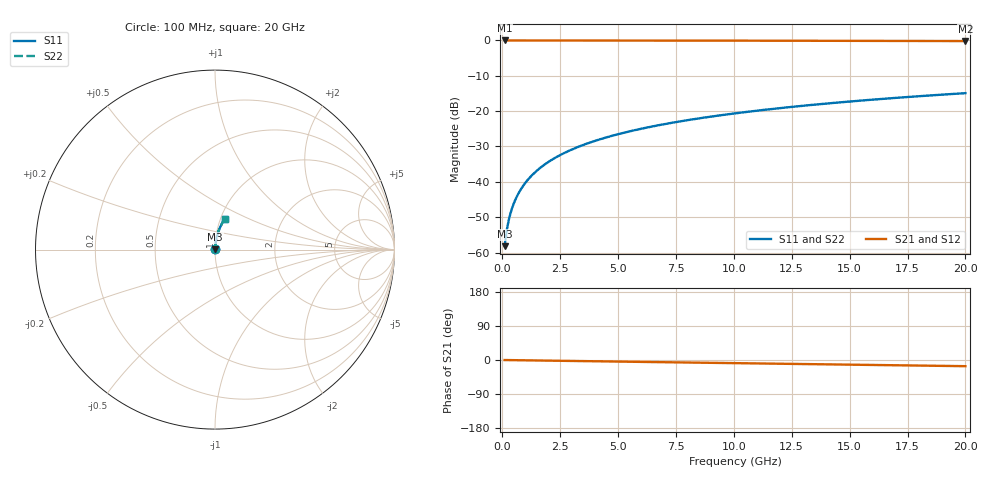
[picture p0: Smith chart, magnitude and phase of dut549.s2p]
! Touchstone file exported from HFSS 2026.1.0
!  File:  C:/ffzhzh/LocalFiles/Ansys_Project_Files/temp_train_TMRDL_549_1783007631_4048.aedt
!  Generated:  11:55:04 PM Jul  2, 2026
!  Design:  TMRDL
!  Project:  temp_train_TMRDL_549_1783007631_4048
! Variables:
!  h_bsmrdl = 2um
!  h_ox = 20um
!  h_rdl = 5um
!  h_sub = 80um
!  h_tmrdl = 5.52um
!  h_tsv = 80um
!  h_via = 3um
!  l_bsmrdl = 300um
!  l_sub = 585.18um
!  l_tmrdl = 185.18um
!  m_sub = 200um
!  pitch = 57.11um
!  r_tsv = 6um
!  s_tmrdl = 10um
!  w_bsmrdl = 18um
!  w_sub = 500um
!  w_tmrdl = 21.32um
!  x_tsv_center1 = 195.84um
!  x_tsv_center2 = 513.84um
!  x_tsv_center3 = 720.34um
!  x_tsv_center4 = 1038.34um
!  x_tsv_center5 = 1244.84um
!  x_tsv_center6 = 1562.84um
# GHz S MA R 50.000000
! Terminal data exported
! Port[1] = TM_RDL1_1_T1
! Port[2] = TM_RDL1_1_T2
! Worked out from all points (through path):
!   200 points, 100 MHz to 20 GHz, reference 50 ohm
!   highest |S21| = -0.01 dB at 100 MHz (marker M1); lowest = -0.2 dB at 20 GHz (marker M2)
!   group delay of S21, straight-line fit = 2.26 ps
!   lowest |S11| = -58.2 dB at 100 MHz (marker M3), VSWR 1.00, Z = 50.1 + j0.102 ohm
!   |S11| at or under -10 dB: start of sweep to end of sweep
!   |S22| runs from -58.2 to -14.9 dB; largest |S21 - S12| = 2.1e-15
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0.1  0.001229 55.6  0.9993 -0.1  0.9993 -0.1  0.001229 55.6
! Gamma 0 0 0 0
! Port Impedance 50 0 50 0
0.2  0.00214 69.9  0.9993 -0.2  0.9993 -0.2  0.00214 69.9
0.3  0.003087 75.3  0.9992 -0.3  0.9992 -0.3  0.003087 75.3
0.4  0.004035 78.1  0.9992 -0.3  0.9992 -0.3  0.004035 78.1
0.5  0.00498 79.9  0.9991 -0.4  0.9991 -0.4  0.00498 79.9
0.7  0.00687 82.0  0.9991 -0.6  0.9991 -0.6  0.00687 82.0
0.8  0.007815 82.7  0.999 -0.7  0.999 -0.7  0.007815 82.7
1  0.009709 83.6  0.999 -0.9  0.999 -0.9  0.009709 83.6
1.2  0.01161 84.2  0.9989 -1.0  0.9989 -1.0  0.01161 84.2
1.4  0.0135 84.5  0.9989 -1.2  0.9989 -1.2  0.0135 84.5
1.7  0.01635 84.8  0.9988 -1.4  0.9988 -1.4  0.01635 84.8
2  0.01919 84.9  0.9987 -1.7  0.9987 -1.7  0.01919 84.9
2.7  0.02578 84.9  0.9984 -2.3  0.9984 -2.3  0.02578 84.9
3.5  0.03327 84.5  0.9979 -2.9  0.9979 -2.9  0.03327 84.5
4.2  0.03977 84.1  0.9975 -3.5  0.9975 -3.5  0.03977 84.1
5  0.04716 83.6  0.997 -4.2  0.997 -4.2  0.04716 83.6
6.8  0.06362 82.3  0.9957 -5.7  0.9957 -5.7  0.06362 82.3
8.3  0.07721 81.2  0.9945 -6.9  0.9945 -6.9  0.07721 81.3
10.1  0.0934 79.9  0.9929 -8.4  0.9929 -8.4  0.0934 79.9
13.4  0.1227 77.5  0.9893 -11.0  0.9893 -11.0  0.1227 77.5
16.7  0.1515 75.0  0.985 -13.7  0.985 -13.7  0.1515 75.0
20  0.1796 72.5  0.9799 -16.3  0.9799 -16.3  0.1796 72.5
